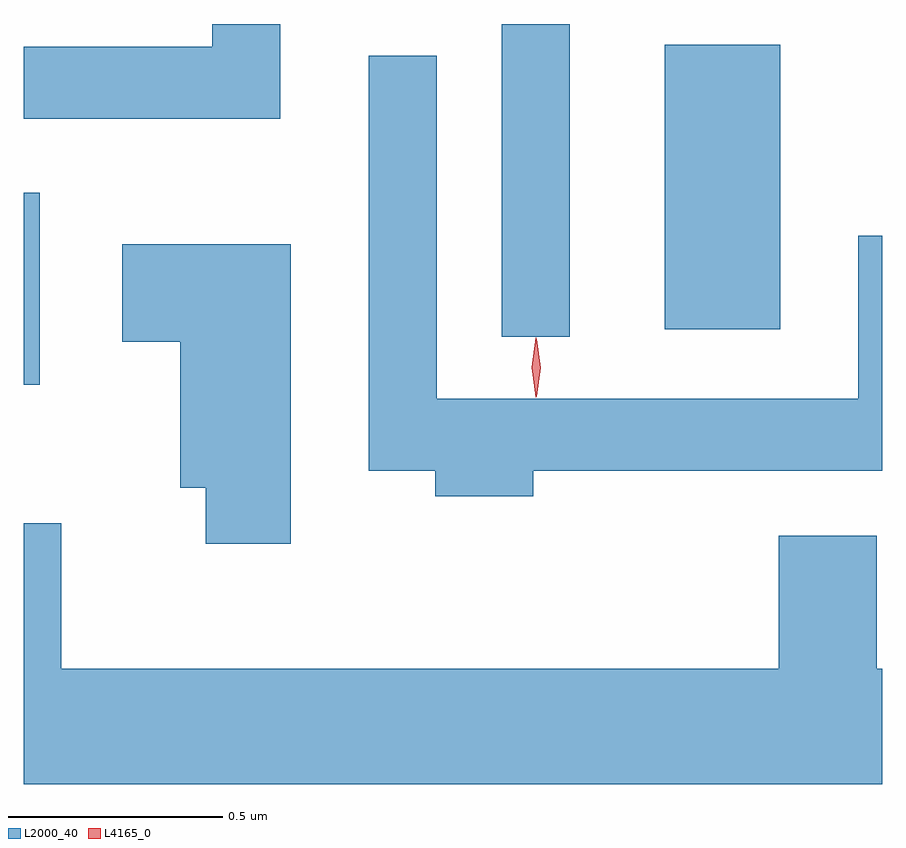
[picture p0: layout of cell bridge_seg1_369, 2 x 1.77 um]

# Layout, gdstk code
import gdstk
lib = gdstk.Library(unit=1e-6, precision=1e-09)
def R(c, l, rs):  # rectangles x0, y0, x1, y1
    for r in rs: c.add(gdstk.rectangle(r[:2], r[2:], *l))
def P(c, l, *ps):  # polygons
    for p in ps: c.add(gdstk.Polygon(p, *l))
L2000_40 = (2000, 40)
L4165_0 = (4165, 0)

bridge_seg1_369 = lib.new_cell('bridge_seg1_369')
R(bridge_seg1_369, L2000_40, [(941.552,873.866,941.589,874.314), (942.666,873.978,942.824,874.707), (943.046,873.996,943.314,874.659)])
P(bridge_seg1_369, L2000_40, [(942.149,874.707),(941.991,874.707),(941.991,874.654),(941.552,874.654),(941.552,874.486),(942.149,874.486)],
  [(942.739,873.666),(943.552,873.666),(943.552,874.213),(943.496,874.213),(943.496,873.834),(942.514,873.834),(942.514,874.633),(942.356,874.633),(942.356,873.666),(942.511,873.666),(942.511,873.606),(942.739,873.606)],
  [(942.174,874.194),(941.781,874.194),(941.781,873.966),(941.916,873.966),(941.916,873.626),(941.976,873.626),(941.976,873.496),(942.174,873.496)],
  [(943.552,873.204),(943.539,873.204),(943.539,873.514),(943.311,873.514),(943.311,873.204),(941.639,873.204),(941.639,873.544),(941.552,873.544),(941.552,872.936),(943.552,872.936)])
P(bridge_seg1_369, L4165_0, [(942.746,873.84),(942.746,873.84),(942.736,873.906),(942.746,873.972),(942.746,873.973),(942.747,873.972),(942.756,873.906),(942.747,873.84)],
  [(942.745,873.837),(942.745,873.837),(942.735,873.907),(942.745,873.976),(942.745,873.976),(942.746,873.976),(942.755,873.907),(942.746,873.837)])

lib.write_gds('bridge_seg1_369.gds')
